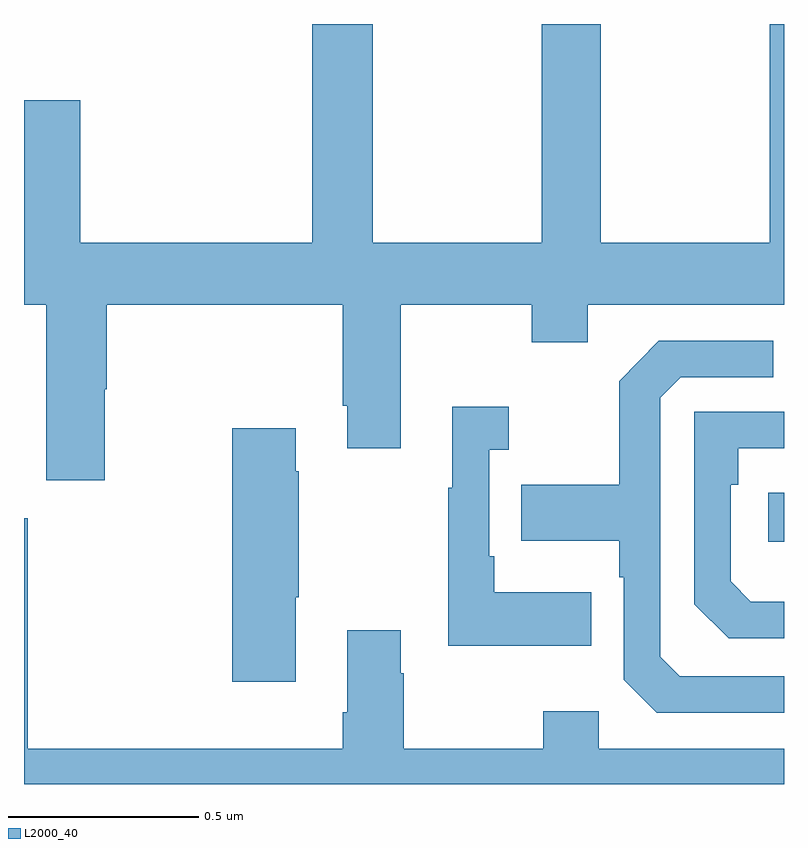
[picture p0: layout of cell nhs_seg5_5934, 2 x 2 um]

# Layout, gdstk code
import gdstk
lib = gdstk.Library(unit=1e-6, precision=1e-09)
def R(c, l, rs):  # rectangles x0, y0, x1, y1
    for r in rs: c.add(gdstk.rectangle(r[:2], r[2:], *l))
def P(c, l, *ps):  # polygons
    for p in ps: c.add(gdstk.Polygon(p, *l))
L2000_40 = (2000, 40)

nhs_seg5_5934 = lib.new_cell('nhs_seg5_5934')
R(nhs_seg5_5934, L2000_40, [(190.959,889.436,191,889.566)])
P(nhs_seg5_5934, L2000_40, [(189.213,889.838),(189.218,889.838),(189.218,890.06),(189.839,890.06),(189.839,889.795),(189.851,889.795),(189.851,889.683),(189.991,889.683),(189.991,890.06),(190.336,890.06),(190.336,889.961),(190.483,889.961),(190.483,890.06),(191,890.06),(191,890.799),(190.963,890.799),(190.963,890.224),(190.518,890.224),(190.518,890.799),(190.363,890.799),(190.363,890.224),(189.918,890.224),(189.918,890.799),(189.758,890.799),(189.758,890.224),(189.148,890.224),(189.148,890.599),(189,890.599),(189,890.06),(189.058,890.06),(189.058,889.599),(189.213,889.599)],
  [(191,889.083),(190.725,889.083),(190.674,889.134),(190.674,889.815),(190.728,889.869),(190.972,889.869),(190.972,889.965),(190.671,889.965),(190.566,889.859),(190.566,889.587),(190.309,889.587),(190.309,889.439),(190.566,889.439),(190.566,889.343),(190.578,889.343),(190.578,889.074),(190.665,888.987),(191,888.987)],
  [(190.493,889.303),(190.237,889.303),(190.237,889.399),(190.224,889.399),(190.224,889.679),(190.276,889.679),(190.276,889.792),(190.127,889.792),(190.127,889.579),(190.116,889.579),(190.116,889.163),(190.493,889.163)],
  [(191,889.279),(190.913,889.279),(190.86,889.332),(190.86,889.586),(190.88,889.586),(190.88,889.683),(191,889.683),(191,889.779),(190.764,889.779),(190.764,889.272),(190.854,889.182),(191,889.182)],
  [(189.715,889.291),(189.723,889.291),(189.723,889.622),(189.715,889.622),(189.715,889.735),(189.548,889.735),(189.548,889.068),(189.715,889.068)],
  [(191,888.892),(190.512,888.892),(190.512,888.991),(190.366,888.991),(190.366,888.892),(189.999,888.892),(189.999,889.091),(189.991,889.091),(189.991,889.204),(189.851,889.204),(189.851,888.988),(189.839,888.988),(189.839,888.892),(189.01,888.892),(189.01,889.498),(189,889.498),(189,888.799),(191,888.799)])

lib.write_gds('nhs_seg5_5934.gds')
